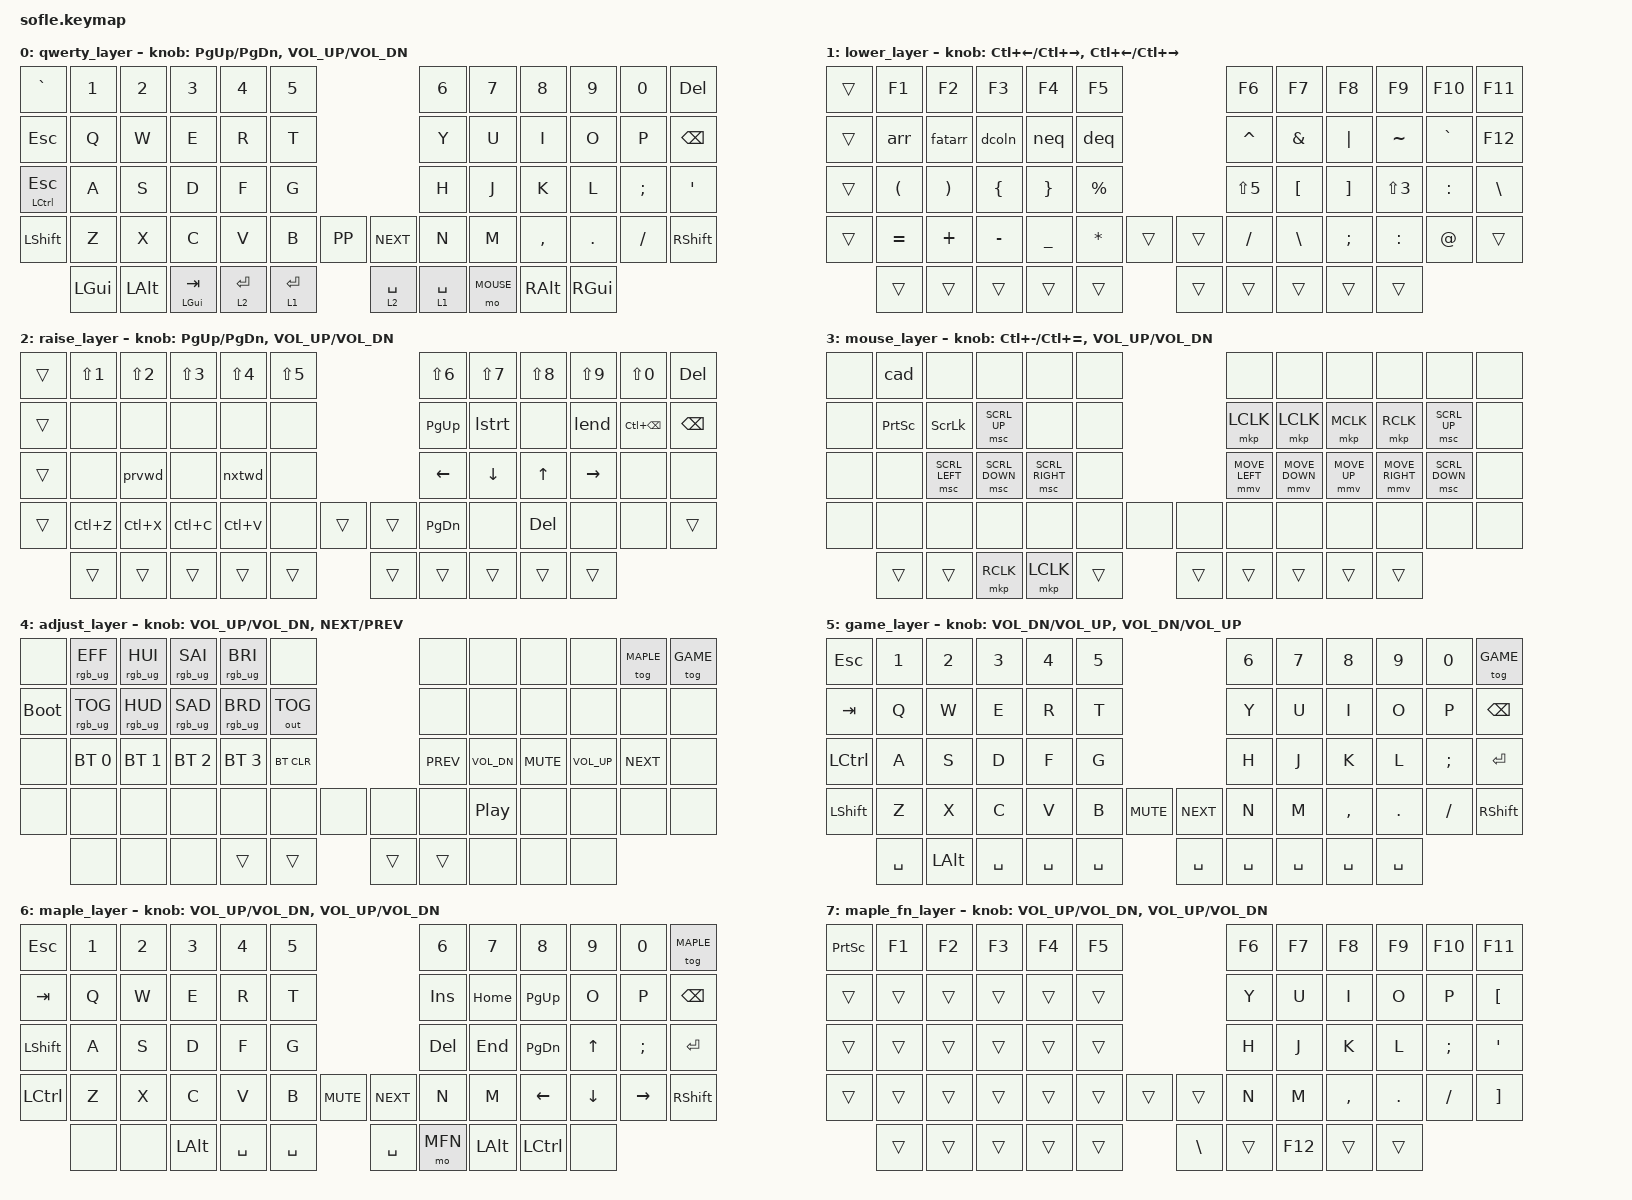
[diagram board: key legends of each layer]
/*
 * Sofle MX — Programming Keymap (ZMK)
 *
 * Design goals:
 *   - Vim navigation on RAISE (HJKL everywhere)
 *   - All programming symbols on LOWER without shift
 *   - Mouse keys HJKL-style on MOUSE layer
 *   - No home row mods
 *
 * Layers:
 *   0: QWERTY  — base, Caps→Ctrl
 *   1: LOWER   — programming symbols (no shift needed)
 *   2: RAISE   — vim nav + editing
 *   3: MOUSE   — mouse keys (HJKL right hand)
 *   4: ADJUST  — BT + RGB + media (tri-layer: LOWER+RAISE)
 *   5: GAME    — generic gaming layer
 *   6: MAPLE   — MapleStory (arrows + Ins/Home/PgUp/Del/End/PgDn)
 *   7: MFN     — MapleStory extras (held from MAPLE)
 *
 * Symbol layout philosophy (LOWER):
 *   Number row  →  = + - _ * / \ | (arithmetic + common ops)
 *   Top row     →  ` ~ ! ? @ # $ %  (less common, still reachable)
 *   Home row    →  ( ) { } [ ] < >  (brackets — most used in code)
 *   Bottom row  →  ^ & | ~ ; : , .  (logical ops + punctuation)
 */

#include <behaviors.dtsi>
#include <dt-bindings/zmk/keys.h>
#include <dt-bindings/zmk/bt.h>
#include <dt-bindings/zmk/rgb.h>
#include <dt-bindings/zmk/mouse.h>
#include <dt-bindings/zmk/outputs.h>

#define QWERTY 0
#define LOWER  1
#define RAISE  2
#define MOUSE  3
#define ADJUST 4
#define GAME   5
#define MAPLE  6
#define MFN    7

/ {

    /* ── Tri-layer: LOWER + RAISE → ADJUST ─────────────────────────────── */
    conditional_layers {
        compatible = "zmk,conditional-layers";
        adjust_layer {
            if-layers = <LOWER RAISE>;
            then-layer = <ADJUST>;
        };
    };
    /* ── Behaviors ─────────────────────────────────────────────────────────── */
    behaviors {
        mt: mod_tap {
            compatible = "zmk,behavior-hold-tap";
            #binding-cells = <2>;
            tapping-term-ms = <137>;
            quick-tap-ms = <0>;
            flavor = "tap-preferred";
            bindings = <&kp>, <&kp>;
        };

        lt: layer_tap {
            compatible = "zmk,behavior-hold-tap";
            #binding-cells = <2>;
            tapping-term-ms = <137>;
            quick-tap-ms = <0>;
            flavor = "tap-preferred";
            bindings = <&mo>, <&kp>;
        };

        lt2: layer_tap {
            compatible = "zmk,behavior-hold-tap";
            #binding-cells = <2>;
            tapping-term-ms = <150>;
            quick-tap-ms = <0>;
            flavor = "tap-preferred";
            bindings = <&mo>, <&kp>;
        };

        lt3: layer_tap {
            compatible = "zmk,behavior-hold-tap";
            #binding-cells = <2>;
            tapping-term-ms = <200>;
            quick-tap-ms = <0>;
            flavor = "tap-preferred";
            bindings = <&mo>, <&kp>;
        };

        scroll_encoder: scroll_encoder {
            compatible = "zmk,behavior-sensor-rotate-var";
            #sensor-binding-cells = <2>;
            bindings = <&msc>, <&msc>;
        };
    };
    /* ── Macros ─────────────────────────────────────────────────────────── */
    macros {
        /* Word navigation (Ctrl+arrow) */
        prvwd: prev_word {
            compatible = "zmk,behavior-macro";
            #binding-cells = <0>;
            bindings = <&kp LC(LEFT)>;
        };
        nxtwd: next_word {
            compatible = "zmk,behavior-macro";
            #binding-cells = <0>;
            bindings = <&kp LC(RIGHT)>;
        };
        lstrt: line_start {
            compatible = "zmk,behavior-macro";
            #binding-cells = <0>;
            bindings = <&kp HOME>;
        };
        lend: line_end {
            compatible = "zmk,behavior-macro";
            #binding-cells = <0>;
            bindings = <&kp END>;
        };

        /* Common programming sequences */
        arr: arrow {
            compatible = "zmk,behavior-macro";
            #binding-cells = <0>;
            bindings = <&kp MINUS &kp GT>;  /* -> */
        };
        fatarr: fat_arrow {
            compatible = "zmk,behavior-macro";
            #binding-cells = <0>;
            bindings = <&kp EQUAL &kp GT>;  /* => */
        };
        dcoln: double_colon {
            compatible = "zmk,behavior-macro";
            #binding-cells = <0>;
            bindings = <&kp COLN &kp COLN>;  /* :: */
        };
        neq: not_equal {
            compatible = "zmk,behavior-macro";
            #binding-cells = <0>;
            bindings = <&kp EXCL &kp EQUAL>;  /* != */
        };
        deq: double_equal {
            compatible = "zmk,behavior-macro";
            #binding-cells = <0>;
            bindings = <&kp EQUAL &kp EQUAL>;  /* == */
        };
        cad: ctrl_alt_del {
            compatible = "zmk,behavior-macro";
            #binding-cells = <0>;
            bindings = <&macro_press &kp LCTRL &kp LALT>
                     , <&macro_tap &kp DEL>
                     , <&macro_release &kp LCTRL &kp LALT>
                     ;
        };
    };

    sensors {
        compatible = "zmk,keymap-sensors";
        sensors = <&left_encoder &right_encoder>;
        triggers-per-rotation = <20>;
    };

    keymap {
        compatible = "zmk,keymap";

        /* ── Layer 0: QWERTY ─────────────────────────────────────────────
         * - Caps Lock → Left Ctrl (huge ergonomic win)
         * - Left thumb:  LOWER (symbols) on inner key
         * - Right thumb: RAISE (nav) on inner key, MOUSE on next key
         * - Encoder L: Undo/Redo   Encoder R: Vol
         * ──────────────────────────────────────────────────────────────── */
        qwerty_layer {
            bindings = <
    &kp GRAVE  &kp N1   &kp N2    &kp N3    &kp N4    &kp N5                          &kp N6    &kp N7    &kp N8    &kp N9    &kp N0    &kp DEL
    &kp ESC    &kp Q    &kp W     &kp E     &kp R     &kp T                           &kp Y     &kp U     &kp I     &kp O     &kp P     &kp BSPC
    &mt LCTRL ESC &kp A &kp S     &kp D     &kp F     &kp G                           &kp H     &kp J     &kp K     &kp L     &kp SEMI  &kp SQT
    &kp LSHFT  &kp Z    &kp X     &kp C     &kp V     &kp B   &kp K_PP    &kp C_NEXT     &kp N     &kp M     &kp COMMA &kp DOT   &kp FSLH  &kp RSHFT
               &kp LGUI &kp LALT  &mt LGUI TAB   &lt2 2 RET &lt 1 RET               &lt 2 SPACE   &lt3 1 SPACE &mo MOUSE &kp RALT  &kp RGUI
            >;
            sensor-bindings = <
                &inc_dec_kp PG_UP PG_DN
                &inc_dec_kp C_VOL_UP C_VOL_DN
            >;
        };

        /* ── Layer 1: LOWER — Programming Symbols ────────────────────────
         *
         * Key design: brackets on home row (most typed in code),
         * operators on number row, arrows/macros on top row.
         *
         * Number row: F1-F5 left  |  F6-F10 right  (quick F-key access)
         * Top row:    -> => :: != == on left  |  ^ & | ~ ` on right
         * Home row:   (  )  {  }  on left    |  [  ]  <  >  on right
         * Bottom row: =  +  -  _  *  on left |  /  \  ;  :  on right
         *
         * Encoder L: word left/right    Encoder R: indent (Tab/Shift+Tab)
         * ──────────────────────────────────────────────────────────────── */
        lower_layer {
            bindings = <
    &trans     &kp F1    &kp F2    &kp F3    &kp F4    &kp F5                          &kp F6    &kp F7    &kp F8    &kp F9    &kp F10   &kp F11
    &trans     &arr      &fatarr   &dcoln    &neq      &deq                            &kp CARET &kp AMPS  &kp PIPE  &kp TILDE &kp GRAVE &kp F12
    &trans     &kp LPAR  &kp RPAR  &kp LBRC  &kp RBRC  &kp PRCNT                       &kp LS(N5) &kp LBKT  &kp RBKT  &kp LS(N3) &kp COLN  &kp BSLH
    &trans     &kp EQUAL &kp PLUS  &kp MINUS &kp UNDER &kp STAR  &trans      &trans    &kp FSLH  &kp BSLH  &kp SEMI  &kp COLN  &kp AT    &trans
               &trans    &trans    &trans    &trans    &trans                &trans    &trans    &trans    &trans    &trans
            >;
            sensor-bindings = <
                &inc_dec_kp LC(LEFT) LC(RIGHT)
                &inc_dec_kp LC(LEFT) LC(RIGHT)
            >;
        };

        /* ── Layer 2: RAISE — Vim Navigation ─────────────────────────────
         *
         * Right hand: pure Vim HJKL movement
         *   H=left  J=down  K=up  L=right
         *   u=page up  d=page down  (vim PgUp/PgDn muscle memory)
         *   0=line start  $=line end  (vim line nav)
         *   w=word forward  b=word back
         *
         * Left hand: modifiers + editing shortcuts
         *   Ctrl/Alt/Shift on home row for easy modified nav
         *   Undo/Cut/Copy/Paste on bottom row
         *
         * Encoder L: Undo/Redo    Encoder R: scroll up/down
         * ──────────────────────────────────────────────────────────────── */
        raise_layer {
            bindings = <
    &trans  &kp LS(N1) &kp LS(N2) &kp LS(N3) &kp LS(N4) &kp LS(N5)                    &kp LS(N6) &kp LS(N7) &kp LS(N8) &kp LS(N9) &kp LS(N0) &kp DEL
    &trans     &none     &none     &none     &none    &none                           &kp PG_UP  &lstrt     &none     &lend       &kp LC(BSPC) &kp BSPC
    &trans     &none     &prvwd    &none     &nxtwd    &none                          &kp LEFT   &kp DOWN   &kp UP    &kp RIGHT   &none        &none
    &trans     &kp LC(Z) &kp LC(X) &kp LC(C) &kp LC(V) &none     &trans      &trans   &kp PG_DN   &none     &kp DEL   &none       &none      &trans
               &trans    &trans    &trans    &trans    &trans                &trans    &trans    &trans    &trans    &trans
            >;
            sensor-bindings = <
                &inc_dec_kp PG_UP PG_DN 
                &inc_dec_kp C_VOL_UP C_VOL_DN 
            >;
        };

        /* ── Layer 3: MOUSE — HJKL style ─────────────────────────────────
         * Left hand:  buttons + scroll
         * Right hand: HJKL cursor movement
         * Encoder L: zoom in/out    Encoder R: scroll
         * ──────────────────────────────────────────────────────────────── */
        mouse_layer {
            bindings = <
    &none      &cad          &none         &none         &none          &none                              &none         &none          &none          &none          &none          &none
    &none      &kp PSCRN     &kp SLCK      &msc SCRL_UP  &none          &none                               &mkp LCLK         &mkp LCLK      &mkp MCLK      &mkp RCLK     &msc SCRL_UP   &none
    &none      &none         &msc SCRL_LEFT &msc SCRL_DOWN &msc SCRL_RIGHT &none                           &mmv MOVE_LEFT &mmv MOVE_DOWN &mmv MOVE_UP &mmv MOVE_RIGHT &msc SCRL_DOWN &none
    &none      &none         &none         &none         &none          &none           &none    &none     &none         &none          &none          &none          &none          &none
               &trans        &trans        &mkp RCLK     &mkp LCLK      &trans                  &trans     &trans        &trans         &trans         &trans
            >;
            sensor-bindings = <
                &inc_dec_kp LC(MINUS) LC(EQUAL)  
                &inc_dec_kp C_VOL_UP C_VOL_DN
            >;
        };

        /* ── Layer 4: ADJUST — BT + RGB + Media ──────────────────────────
         * Activated by holding LOWER + RAISE simultaneously
         * Encoder L: vol    Encoder R: track
         * ──────────────────────────────────────────────────────────────── */
        adjust_layer {
            bindings = <
    &none       &rgb_ug RGB_EFF  &rgb_ug RGB_HUI  &rgb_ug RGB_SAI  &rgb_ug RGB_BRI        &none                           &none        &none        &none        &none        &tog MAPLE   &tog GAME
    &bootloader &rgb_ug RGB_TOG  &rgb_ug RGB_HUD  &rgb_ug RGB_SAD  &rgb_ug RGB_BRD &out OUT_TOG                           &none        &none        &none        &none        &none        &none
    &none       &bt BT_SEL 0 &bt BT_SEL 1 &bt BT_SEL 2 &bt BT_SEL 3 &bt BT_CLR                                          &kp C_PREV   &kp C_VOL_DN &kp C_MUTE   &kp C_VOL_UP &kp C_NEXT   &none
    &none       &none        &none        &none        &none        &none                  &none           &none          &none        &kp C_PP     &none        &none        &none        &none
                &none        &none        &none        &trans       &trans                  &trans   &trans       &none    &none        &none
            >;
            sensor-bindings = <
                &inc_dec_kp C_VOL_UP C_VOL_DN 
                &inc_dec_kp C_NEXT C_PREV 
            >;
        };
        /* ── Layer 5: GAME — Gaming layer ────────────────────────────────
         * Standard QWERTY, no layer switching on thumbs
         * Caps → Ctrl (same as base)
         * Entire bottom row = Space (safe mashing)
         * Toggle on/off via ADJUST layer
         * Encoder L: Vol   Encoder R: Vol
         * ──────────────────────────────────────────────────────────────── */
        game_layer {
            bindings = <
    &kp ESC  &kp N1   &kp N2    &kp N3    &kp N4    &kp N5                          &kp N6    &kp N7    &kp N8    &kp N9    &kp N0    &tog GAME
    &kp TAB    &kp Q    &kp W     &kp E     &kp R     &kp T                           &kp Y     &kp U     &kp I     &kp O     &kp P     &kp BSPC
    &kp LCTRL &kp A    &kp S     &kp D     &kp F     &kp G                           &kp H     &kp J     &kp K     &kp L     &kp SEMI  &kp RET
    &kp LSHFT  &kp Z    &kp X     &kp C     &kp V     &kp B   &kp C_MUTE  &kp C_NEXT  &kp N     &kp M     &kp COMMA &kp DOT   &kp FSLH  &kp RSHFT
               &kp SPACE &kp LALT &kp SPACE &kp SPACE &kp SPACE             &kp SPACE &kp SPACE &kp SPACE &kp SPACE &kp SPACE
            >;
            sensor-bindings = <
                &inc_dec_kp C_VOL_DN C_VOL_UP
                &inc_dec_kp C_VOL_DN C_VOL_UP
            >;
        };

        /* ── Layer 6: MAPLE — MapleStory ─────────────────────────────────
         * Left hand: normal QWERTY, Shift on pinky above Ctrl (attack)
         * Left thumbs: Alt (jump) + Space on the two inner keys
         * Right hand: Ins/Home/PgUp/Del/End/PgDn block above arrows
         * Right thumb: hold MFN for the displaced keys + F-keys
         * No GUI keys (avoids popping out of the game)
         * Toggle on via ADJUST, off via top-right key
         * Encoder L: Vol   Encoder R: Vol
         * ──────────────────────────────────────────────────────────────── */
        maple_layer {
            bindings = <
    &kp ESC    &kp N1   &kp N2    &kp N3    &kp N4    &kp N5                          &kp N6    &kp N7    &kp N8    &kp N9    &kp N0    &tog MAPLE
    &kp TAB    &kp Q    &kp W     &kp E     &kp R     &kp T                           &kp INS   &kp HOME  &kp PG_UP &kp O     &kp P     &kp BSPC
    &kp LSHFT  &kp A    &kp S     &kp D     &kp F     &kp G                           &kp DEL   &kp END   &kp PG_DN &kp UP    &kp SEMI  &kp RET
    &kp LCTRL &kp Z    &kp X     &kp C     &kp V     &kp B   &kp C_MUTE  &kp C_NEXT  &kp N     &kp M     &kp LEFT  &kp DOWN  &kp RIGHT &kp RSHFT
               &none    &none     &kp LALT  &kp SPACE  &kp SPACE             &kp SPACE &mo MFN   &kp LALT  &kp LCTRL &none
            >;
            sensor-bindings = <
                &inc_dec_kp C_VOL_UP C_VOL_DN
                &inc_dec_kp C_VOL_UP C_VOL_DN
            >;
        };

        /* ── Layer 7: MFN — MapleStory extras (hold from MAPLE) ──────────
         * Restores the right-hand keys MAPLE replaced (I K L H . ' etc.)
         * plus F1-F12 and Print Screen
         * ──────────────────────────────────────────────────────────────── */
        maple_fn_layer {
            bindings = <
    &kp PSCRN  &kp F1   &kp F2    &kp F3    &kp F4    &kp F5                          &kp F6    &kp F7    &kp F8    &kp F9    &kp F10   &kp F11
    &trans     &trans   &trans    &trans    &trans    &trans                          &kp Y     &kp U     &kp I     &kp O     &kp P     &kp LBKT
    &trans     &trans   &trans    &trans    &trans    &trans                          &kp H     &kp J     &kp K     &kp L     &kp SEMI  &kp SQT
    &trans     &trans   &trans    &trans    &trans    &trans  &trans      &trans      &kp N     &kp M     &kp COMMA &kp DOT   &kp FSLH  &kp RBKT
               &trans   &trans    &trans    &trans    &trans                &kp BSLH  &trans    &kp F12   &trans    &trans
            >;
            sensor-bindings = <
                &inc_dec_kp C_VOL_UP C_VOL_DN
                &inc_dec_kp C_VOL_UP C_VOL_DN
            >;
        };
    };
};
